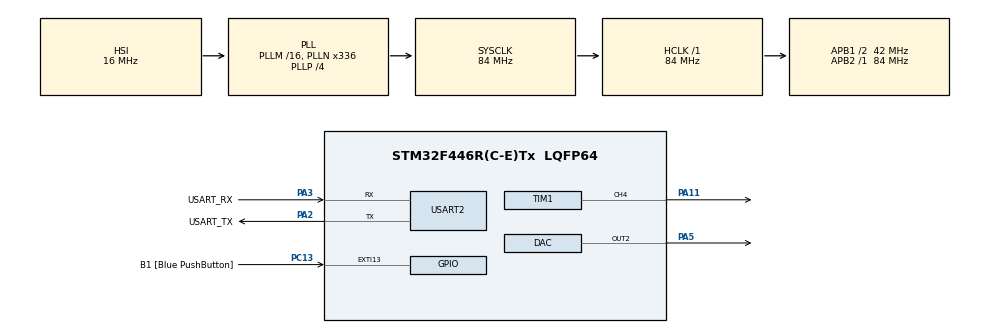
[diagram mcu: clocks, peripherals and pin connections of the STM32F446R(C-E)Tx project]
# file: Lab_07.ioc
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DAC.DAC_Trigger2=DAC_TRIGGER_T6_TRGO
Dma.DAC2.0.Direction=DMA_MEMORY_TO_PERIPH
Dma.DAC2.0.FIFOMode=DMA_FIFOMODE_DISABLE
Dma.DAC2.0.Instance=DMA1_Stream6
Dma.DAC2.0.MemDataAlignment=DMA_MDATAALIGN_HALFWORD
Dma.DAC2.0.MemInc=DMA_MINC_ENABLE
Dma.DAC2.0.Mode=DMA_CIRCULAR
Dma.DAC2.0.PeriphDataAlignment=DMA_PDATAALIGN_HALFWORD
Dma.DAC2.0.PeriphInc=DMA_PINC_DISABLE
Dma.DAC2.0.Priority=DMA_PRIORITY_LOW
Dma.Request0=DAC2
Mcu.Family=STM32F4
Mcu.Name=STM32F446R(C-E)Tx
Mcu.Package=LQFP64
NVIC.DMA1_Stream6_IRQn=true\:0\:0\:false\:false\:true\:false\:true\:true
NVIC.PriorityGroup=NVIC_PRIORITYGROUP_0
NVIC.USART2_IRQn=true\:0\:0\:false\:false\:true\:true\:true\:true
PA11.Signal=S_TIM1_CH4
PA13.GPIO_Label=TMS
PA13.Mode=Serial_Wire
PA13.Signal=SYS_JTMS-SWDIO
PA14.GPIO_Label=TCK
PA14.Mode=Serial_Wire
PA14.Signal=SYS_JTCK-SWCLK
PA2.GPIO_Label=USART_TX
PA2.Mode=Asynchronous
PA2.Signal=USART2_TX
PA3.GPIO_Label=USART_RX
PA3.Mode=Asynchronous
PA3.Signal=USART2_RX
PA5.Signal=COMP_DAC2_group
PB3.GPIO_Label=SWO
PB3.Signal=SYS_JTDO-SWO
PC13.GPIO_Label=B1 [Blue PushButton]
PC13.GPIO_ModeDefaultEXTI=GPIO_MODE_IT_FALLING
PC13.Signal=GPXTI13
PC14-OSC32_IN.Mode=LSE-External-Oscillator
PC14-OSC32_IN.Signal=RCC_OSC32_IN
PC15-OSC32_OUT.Mode=LSE-External-Oscillator
PC15-OSC32_OUT.Signal=RCC_OSC32_OUT
PH0-OSC_IN.Mode=HSE-External-Oscillator
PH0-OSC_IN.Signal=RCC_OSC_IN
PH1-OSC_OUT.Mode=HSE-External-Oscillator
PH1-OSC_OUT.Signal=RCC_OSC_OUT
ProjectManager.HeapSize=0x200
ProjectManager.StackSize=0x400
ProjectManager.TargetToolchain=STM32CubeIDE
RCC.48MHZClocksFreq_Value=84000000
RCC.AHBFreq_Value=84000000
RCC.APB1CLKDivider=RCC_HCLK_DIV2
RCC.APB1Freq_Value=42000000
RCC.APB1TimFreq_Value=84000000
RCC.APB2Freq_Value=84000000
RCC.APB2TimFreq_Value=84000000
RCC.CortexFreq_Value=84000000
RCC.FLatency-AdvancedSettings=FLASH_LATENCY_2
RCC.HCLKFreq_Value=84000000
RCC.HSE_VALUE=8000000
RCC.HSI_VALUE=16000000
RCC.PLLN=336
RCC.PLLP=RCC_PLLP_DIV4
RCC.SYSCLKFreq_VALUE=84000000
RCC.SYSCLKSource=RCC_SYSCLKSOURCE_PLLCLK
RCC.USBFreq_Value=168000000
RCC.VCOOutputFreq_Value=336000000
SH.COMP_DAC2_group.0=DAC_OUT2,DAC_OUT2
SH.S_TIM1_CH4.0=TIM1_CH4,PWM Generation4 CH4
TIM1.Channel-PWM\ Generation4\ CH4=TIM_CHANNEL_4
TIM1.Period=100-1
TIM1.Pulse-PWM\ Generation4\ CH4=50
TIM6.Period=1000-1
TIM6.Prescaler=1-1
TIM6.TIM_MasterOutputTrigger=TIM_TRGO_UPDATE
USART2.OverSampling=UART_OVERSAMPLING_8
USART2.VirtualMode=VM_ASYNC
VP_TIM1_VS_ClockSourceINT.Mode=Internal
VP_TIM6_VS_ClockSourceINT.Mode=Enable_Timer
board=NUCLEO-F446RE

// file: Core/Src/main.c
/* USER CODE BEGIN Header */
/**
  ******************************************************************************
  * @file           : main.c
  * @brief          : Main program body
  ******************************************************************************
  * @attention
  *
  * Copyright (c) 2026 STMicroelectronics.
  * All rights reserved.
  *
  * This software is licensed under terms that can be found in the LICENSE file
  * in the root directory of this software component.
  * If no LICENSE file comes with this software, it is provided AS-IS.
  *
  ******************************************************************************
  */
/* USER CODE END Header */
#include "main.h"

/* USER CODE BEGIN Includes */
#include <stdio.h>
#include <math.h>
#include <pitches.h>
/* USER CODE END Includes */

/* USER CODE BEGIN PD */
#define TIM_FREQ 84000000
#define sinsize 128
#define Autoreload 100
uint32_t Ysen[sinsize];
#define Pi 3.1415926
#define PRESSC 1
/* USER CODE END PD */

DAC_HandleTypeDef hdac;
DMA_HandleTypeDef hdma_dac2;

TIM_HandleTypeDef htim1;
TIM_HandleTypeDef htim6;

UART_HandleTypeDef huart2;

/* USER CODE BEGIN PV */
uint8_t control[1];
uint8_t cancion=0;
int melody[] = {
    NOTE_C4, NOTE_C4, NOTE_G4, NOTE_G4, NOTE_A4, NOTE_A4, NOTE_G4,
    NOTE_F4, NOTE_F4, NOTE_E4, NOTE_E4, NOTE_D4, NOTE_D4, NOTE_C4,

    NOTE_G4, NOTE_G4, NOTE_F4, NOTE_F4, NOTE_E4, NOTE_E4, NOTE_D4,
    NOTE_G4, NOTE_G4, NOTE_F4, NOTE_F4, NOTE_E4, NOTE_E4, NOTE_D4,

    NOTE_C4, NOTE_C4, NOTE_G4, NOTE_G4, NOTE_A4, NOTE_A4, NOTE_G4,
    NOTE_F4, NOTE_F4, NOTE_E4, NOTE_E4, NOTE_D4, NOTE_D4, NOTE_C4
};
int durations[] = {
    400, 400, 400, 400, 400, 400, 800,
    400, 400, 400, 400, 400, 400, 800,

    400, 400, 400, 400, 400, 400, 800,
    400, 400, 400, 400, 400, 400, 800,

    400, 400, 400, 400, 400, 400, 800,
    400, 400, 400, 400, 400, 400, 800
};
int melodyamigo[] = {
	NOTE_E4, NOTE_G4, NOTE_E4, NOTE_G4, NOTE_E4, NOTE_G4, NOTE_E4, NOTE_G4,
	NOTE_E4, NOTE_G4, NOTE_E4, NOTE_REST,
	NOTE_E4, NOTE_G4, NOTE_E4, NOTE_G4, NOTE_E4, NOTE_G4, NOTE_E4, NOTE_G4, NOTE_A4,
	NOTE_A4, NOTE_F4, NOTE_REST,
	NOTE_F4, NOTE_A4, NOTE_F4, NOTE_A4, NOTE_F4, NOTE_A4, NOTE_F4, NOTE_A4,
	NOTE_F4, NOTE_A4, NOTE_F4, NOTE_REST,
	NOTE_F4, NOTE_A4, NOTE_F4, NOTE_A4, NOTE_F4, NOTE_A4, NOTE_F4, NOTE_A4,
	NOTE_B4, NOTE_G4, NOTE_REST,
	NOTE_G4, NOTE_G4, NOTE_F4, NOTE_E4, NOTE_E4,
	NOTE_E4, NOTE_F4, NOTE_G4, NOTE_F4, NOTE_E4, NOTE_D4, NOTE_D4,
	NOTE_A4, NOTE_A4, NOTE_G4, NOTE_F4, NOTE_F4,
	NOTE_F4, NOTE_G4, NOTE_A4, NOTE_G4, NOTE_F4, NOTE_G4,
	NOTE_E4, NOTE_REST
};
int durationsamigo[] = {
	250,250,250,250,250,250,250,250,
	250,250,600,250,
	250,250,250,250,250,250,250,250,500,
	500,500,250,
	250,250,250,250,250,250,250,250,
	250,250,500,250,
	250,250,250,250,250,250,250,250,
	500,500,250,
	250,250,250,500,500,
	250,250,250,250,250,500,500,
	250,250,250,500,500,
	250,250,250,250,500,500,
	750,500
};
/* USER CODE END PV */

void SystemClock_Config(void);
static void MX_GPIO_Init(void);
static void MX_DMA_Init(void);
static void MX_TIM1_Init(void);
static void MX_USART2_UART_Init(void);
static void MX_DAC_Init(void);
static void MX_TIM6_Init(void);
/* USER CODE BEGIN PFP */
int pressForFrecuency (int frecuency);
void playTone(int *tone, int *durations, int *pause, int size);
void noTone(void);

//DAC musicaaal
void generarsen(void);
int calcularAutoreload(int freq);
void playToneDAC(int *tone, int *durations, int *pause, int size);
void noToneDAC(void);
/* USER CODE END PFP */

/* USER CODE BEGIN 0 */
int pressForFrecuency(int frecuency){
	if (frecuency==0)
		return 0;
	return ((TIM_FREQ/(Autoreload*frecuency))-1);
}

void playTone(int *tone, int *durations, int *pause, int size){
	for (int i=0; i<size; i++){
		int prescaler =pressForFrecuency(tone[i]);
		int dur= durations[i];
		int PausebetNotes=0;
		if (pause != NULL)
			PausebetNotes=pause[i]-durations[i];
		__HAL_TIM_SET_PRESCALER(&htim1, prescaler);
		HAL_Delay(dur);
		noTone();
		HAL_Delay(PausebetNotes);
	}
}

void noTone(void){
	__HAL_TIM_SET_PRESCALER(&htim1, 0);
}

void generarsen(void){
	for(int x=0; x<sinsize; x++){
		Ysen[x]= ((sin(x*2*Pi/sinsize)+1)*(4096/2));
	}
}
int calcularAutoreload(int freq){
	if(freq==0)
		return 0;
	int TF = sinsize*freq;
	return ((TIM_FREQ/((PRESSC+1)*TF))-1);
}

void playToneDAC(int *tone, int *durations, int *pause, int size){
	for (int i=0; i<size; i++){
		int valorAutoreload =calcularAutoreload(tone[i]);
		int dur= durations[i];
		int PausebetNotes=0;
		if (pause != NULL)
			PausebetNotes=pause[i]-durations[i];
		TIM6->ARR =valorAutoreload;
		HAL_Delay(dur);//Duracion de nota
		noToneDAC();
		HAL_Delay(PausebetNotes);
	}
}
void noToneDAC(void){
	TIM6->ARR=0;
}
/* USER CODE END 0 */

int main(void)
{

  /* MCU Configuration--------------------------------------------------------*/

  /* Reset of all peripherals, Initializes the Flash interface and the Systick. */
  HAL_Init();

  /* Configure the system clock */
  SystemClock_Config();

  /* Initialize all configured peripherals */
  MX_GPIO_Init();
  MX_DMA_Init();
  MX_TIM1_Init();
  MX_USART2_UART_Init();
  MX_DAC_Init();
  MX_TIM6_Init();
  /* USER CODE BEGIN 2 */
  generarsen();
  HAL_DAC_Init(&hdac);
  HAL_TIM_Base_Start(&htim6);
  //Iniciamos el DAC
  HAL_DAC_Start_DMA(&hdac, DAC_CHANNEL_2, Ysen, sinsize, DAC_ALIGN_12B_R);
  /* USER CODE END 2 */

  /* Infinite loop */
  /* USER CODE BEGIN WHILE */
  HAL_TIM_PWM_Start(&htim1, TIM_CHANNEL_4);
  uint8_t test1[]= "Bienvenido a RocolaPlay\r\n";
  HAL_UART_Transmit(&huart2, test1, sizeof(test1), HAL_MAX_DELAY);
  uint8_t test2[]= "Presione 1 o 2 para reproducir una cancion...\r\n";
  HAL_UART_Transmit(&huart2, test2, sizeof(test2), HAL_MAX_DELAY);
  uint8_t test3[]= "1, Estrellita. 2,Amigo Felix\r\n";
  HAL_UART_Transmit(&huart2, test3, sizeof(test3), HAL_MAX_DELAY);
  HAL_UART_Receive_IT(&huart2, control, 1);

  //playTone(melodyamigo, durationsamigo, NULL, sizeof(melodyamigo)/sizeof(int));
  while (1)
  {
    /* USER CODE END WHILE */

    /* USER CODE BEGIN 3 */
	  if(cancion==49)
	  {
		  HAL_UART_Transmit(&huart2, (uint8_t*)"Reproduciendo: Estrellita\r\n", 25, 1000);
		  playToneDAC(melody, durations, NULL, sizeof(melody)/sizeof(int));
		  cancion=0;
		  HAL_UART_Receive_IT(&huart2, control, 1);
	  }else if (cancion==50){
		  HAL_UART_Transmit(&huart2, (uint8_t*)"Reproduciendo:Amigo Felix\r\n", 25, 1000);
		  playTone(melodyamigo, durationsamigo, NULL, sizeof(melodyamigo)/sizeof(int));
		  cancion=0;
		  HAL_UART_Receive_IT(&huart2, control, 1);
	  }
  }
  /* USER CODE END 3 */
}

void SystemClock_Config(void)
{
  RCC_OscInitTypeDef RCC_OscInitStruct = {0};
  RCC_ClkInitTypeDef RCC_ClkInitStruct = {0};

  /** Configure the main internal regulator output voltage
  */
  __HAL_RCC_PWR_CLK_ENABLE();
  __HAL_PWR_VOLTAGESCALING_CONFIG(PWR_REGULATOR_VOLTAGE_SCALE3);

  /** Initializes the RCC Oscillators according to the specified parameters
  * in the RCC_OscInitTypeDef structure.
  */
  RCC_OscInitStruct.OscillatorType = RCC_OSCILLATORTYPE_HSI;
  RCC_OscInitStruct.HSIState = RCC_HSI_ON;
  RCC_OscInitStruct.HSICalibrationValue = RCC_HSICALIBRATION_DEFAULT;
  RCC_OscInitStruct.PLL.PLLState = RCC_PLL_ON;
  RCC_OscInitStruct.PLL.PLLSource = RCC_PLLSOURCE_HSI;
  RCC_OscInitStruct.PLL.PLLM = 16;
  RCC_OscInitStruct.PLL.PLLN = 336;
  RCC_OscInitStruct.PLL.PLLP = RCC_PLLP_DIV4;
  RCC_OscInitStruct.PLL.PLLQ = 2;
  RCC_OscInitStruct.PLL.PLLR = 2;
  if (HAL_RCC_OscConfig(&RCC_OscInitStruct) != HAL_OK)
  {
    Error_Handler();
  }

  /** Initializes the CPU, AHB and APB buses clocks
  */
  RCC_ClkInitStruct.ClockType = RCC_CLOCKTYPE_HCLK|RCC_CLOCKTYPE_SYSCLK
                              |RCC_CLOCKTYPE_PCLK1|RCC_CLOCKTYPE_PCLK2;
  RCC_ClkInitStruct.SYSCLKSource = RCC_SYSCLKSOURCE_PLLCLK;
  RCC_ClkInitStruct.AHBCLKDivider = RCC_SYSCLK_DIV1;
  RCC_ClkInitStruct.APB1CLKDivider = RCC_HCLK_DIV2;
  RCC_ClkInitStruct.APB2CLKDivider = RCC_HCLK_DIV1;

  if (HAL_RCC_ClockConfig(&RCC_ClkInitStruct, FLASH_LATENCY_2) != HAL_OK)
  {
    Error_Handler();
  }
}

static void MX_DAC_Init(void)
{

  DAC_ChannelConfTypeDef sConfig = {0};

  /** DAC Initialization
  */
  hdac.Instance = DAC;
  if (HAL_DAC_Init(&hdac) != HAL_OK)
  {
    Error_Handler();
  }

  /** DAC channel OUT2 config
  */
  sConfig.DAC_Trigger = DAC_TRIGGER_T6_TRGO;
  sConfig.DAC_OutputBuffer = DAC_OUTPUTBUFFER_ENABLE;
  if (HAL_DAC_ConfigChannel(&hdac, &sConfig, DAC_CHANNEL_2) != HAL_OK)
  {
    Error_Handler();
  }

}

static void MX_TIM1_Init(void)
{

  TIM_ClockConfigTypeDef sClockSourceConfig = {0};
  TIM_MasterConfigTypeDef sMasterConfig = {0};
  TIM_OC_InitTypeDef sConfigOC = {0};
  TIM_BreakDeadTimeConfigTypeDef sBreakDeadTimeConfig = {0};

  htim1.Instance = TIM1;
  htim1.Init.Prescaler = 0;
  htim1.Init.CounterMode = TIM_COUNTERMODE_UP;
  htim1.Init.Period = 100-1;
  htim1.Init.ClockDivision = TIM_CLOCKDIVISION_DIV1;
  htim1.Init.RepetitionCounter = 0;
  htim1.Init.AutoReloadPreload = TIM_AUTORELOAD_PRELOAD_DISABLE;
  if (HAL_TIM_Base_Init(&htim1) != HAL_OK)
  {
    Error_Handler();
  }
  sClockSourceConfig.ClockSource = TIM_CLOCKSOURCE_INTERNAL;
  if (HAL_TIM_ConfigClockSource(&htim1, &sClockSourceConfig) != HAL_OK)
  {
    Error_Handler();
  }
  if (HAL_TIM_PWM_Init(&htim1) != HAL_OK)
  {
    Error_Handler();
  }
  sMasterConfig.MasterOutputTrigger = TIM_TRGO_RESET;
  sMasterConfig.MasterSlaveMode = TIM_MASTERSLAVEMODE_DISABLE;
  if (HAL_TIMEx_MasterConfigSynchronization(&htim1, &sMasterConfig) != HAL_OK)
  {
    Error_Handler();
  }
  sConfigOC.OCMode = TIM_OCMODE_PWM1;
  sConfigOC.Pulse = 50;
  sConfigOC.OCPolarity = TIM_OCPOLARITY_HIGH;
  sConfigOC.OCFastMode = TIM_OCFAST_DISABLE;
  sConfigOC.OCIdleState = TIM_OCIDLESTATE_RESET;
  sConfigOC.OCNIdleState = TIM_OCNIDLESTATE_RESET;
  if (HAL_TIM_PWM_ConfigChannel(&htim1, &sConfigOC, TIM_CHANNEL_4) != HAL_OK)
  {
    Error_Handler();
  }
  sBreakDeadTimeConfig.OffStateRunMode = TIM_OSSR_DISABLE;
  sBreakDeadTimeConfig.OffStateIDLEMode = TIM_OSSI_DISABLE;
  sBreakDeadTimeConfig.LockLevel = TIM_LOCKLEVEL_OFF;
  sBreakDeadTimeConfig.DeadTime = 0;
  sBreakDeadTimeConfig.BreakState = TIM_BREAK_DISABLE;
  sBreakDeadTimeConfig.BreakPolarity = TIM_BREAKPOLARITY_HIGH;
  sBreakDeadTimeConfig.AutomaticOutput = TIM_AUTOMATICOUTPUT_DISABLE;
  if (HAL_TIMEx_ConfigBreakDeadTime(&htim1, &sBreakDeadTimeConfig) != HAL_OK)
  {
    Error_Handler();
  }
  HAL_TIM_MspPostInit(&htim1);

}

static void MX_TIM6_Init(void)
{

  TIM_MasterConfigTypeDef sMasterConfig = {0};

  htim6.Instance = TIM6;
  htim6.Init.Prescaler = 1-1;
  htim6.Init.CounterMode = TIM_COUNTERMODE_UP;
  htim6.Init.Period = 1000-1;
  htim6.Init.AutoReloadPreload = TIM_AUTORELOAD_PRELOAD_DISABLE;
  if (HAL_TIM_Base_Init(&htim6) != HAL_OK)
  {
    Error_Handler();
  }
  sMasterConfig.MasterOutputTrigger = TIM_TRGO_UPDATE;
  sMasterConfig.MasterSlaveMode = TIM_MASTERSLAVEMODE_DISABLE;
  if (HAL_TIMEx_MasterConfigSynchronization(&htim6, &sMasterConfig) != HAL_OK)
  {
    Error_Handler();
  }

}

static void MX_USART2_UART_Init(void)
{

  huart2.Instance = USART2;
  huart2.Init.BaudRate = 115200;
  huart2.Init.WordLength = UART_WORDLENGTH_8B;
  huart2.Init.StopBits = UART_STOPBITS_1;
  huart2.Init.Parity = UART_PARITY_NONE;
  huart2.Init.Mode = UART_MODE_TX_RX;
  huart2.Init.HwFlowCtl = UART_HWCONTROL_NONE;
  huart2.Init.OverSampling = UART_OVERSAMPLING_8;
  if (HAL_UART_Init(&huart2) != HAL_OK)
  {
    Error_Handler();
  }

}

static void MX_DMA_Init(void)
{

  /* DMA controller clock enable */
  __HAL_RCC_DMA1_CLK_ENABLE();

  /* DMA interrupt init */
  /* DMA1_Stream6_IRQn interrupt configuration */
  HAL_NVIC_SetPriority(DMA1_Stream6_IRQn, 0, 0);
  HAL_NVIC_EnableIRQ(DMA1_Stream6_IRQn);

}

static void MX_GPIO_Init(void)
{
  GPIO_InitTypeDef GPIO_InitStruct = {0};

  /* GPIO Ports Clock Enable */
  __HAL_RCC_GPIOC_CLK_ENABLE();
  __HAL_RCC_GPIOH_CLK_ENABLE();
  __HAL_RCC_GPIOA_CLK_ENABLE();
  __HAL_RCC_GPIOB_CLK_ENABLE();

  /*Configure GPIO pin : B1_Pin */
  GPIO_InitStruct.Pin = B1_Pin;
  GPIO_InitStruct.Mode = GPIO_MODE_IT_FALLING;
  GPIO_InitStruct.Pull = GPIO_NOPULL;
  HAL_GPIO_Init(B1_GPIO_Port, &GPIO_InitStruct);

}

/* USER CODE BEGIN 4 */
void HAL_UART_RxCpltCallback(UART_HandleTypeDef *huart){
	cancion=control[0];
}
/* USER CODE END 4 */

void Error_Handler(void)
{
  __disable_irq();
  while (1)
  {
  }
}
